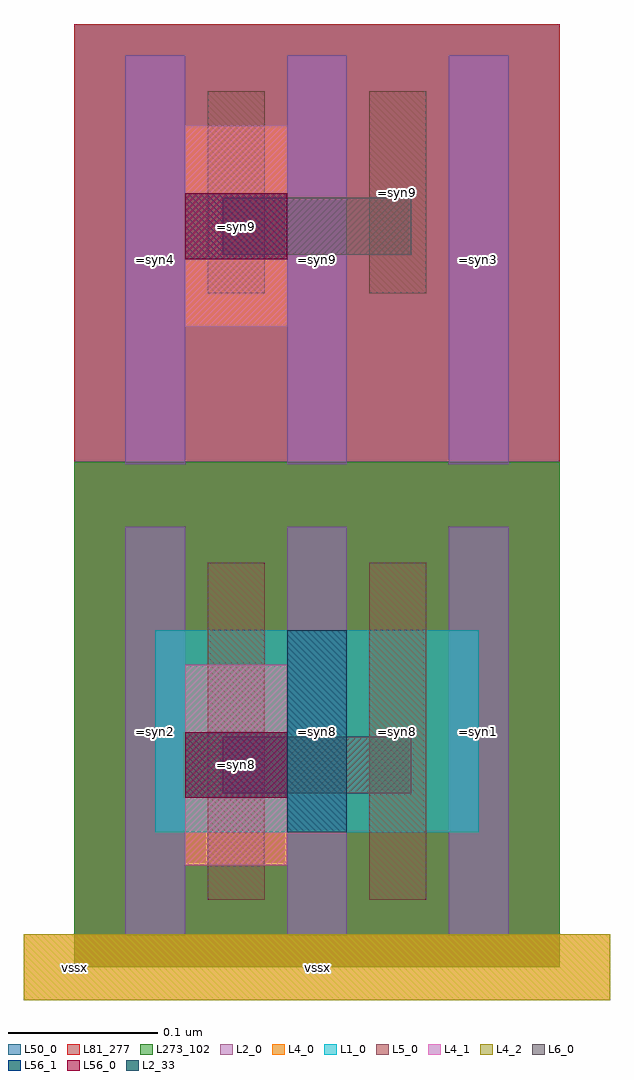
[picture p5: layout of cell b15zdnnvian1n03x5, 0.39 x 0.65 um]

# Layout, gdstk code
import gdstk
lib = gdstk.Library(unit=1e-6, precision=5e-10)
def R(c, l, rs):  # rectangles x0, y0, x1, y1
    for r in rs: c.add(gdstk.rectangle(r[:2], r[2:], *l))
def A(c, l, x, y, w, h, nx, ny, dx, dy):  # array of equal rectangles
    R(c, l, [(x+i*dx, y+j*dy, x+i*dx+w, y+j*dy+h) for i in range(nx) for j in range(ny)])
L1_0 = (1, 0)
L2_0 = (2, 0)
L2_33 = (2, 33)
L4_0 = (4, 0)
L4_1 = (4, 1)
L4_2 = (4, 2)
L5_0 = (5, 0)
L6_0 = (6, 0)
L50_0 = (50, 0)
L56_0 = (56, 0)
L56_1 = (56, 1)
L81_277 = (81, 277)
L273_102 = (273, 102)

b15zdnnvian1n03x5 = lib.new_cell('b15zdnnvian1n03x5')
R(b15zdnnvian1n03x5, L1_0, [(0.054,0.09,0.27,0.225)])
A(b15zdnnvian1n03x5, L2_0, 0.034, 0.021, 0.04, 0.273, 3, 2, 0.108, 0.315)
R(b15zdnnvian1n03x5, L2_33, [(0.142,0.09,0.182,0.225)])
R(b15zdnnvian1n03x5, L4_0, [(-0.034,-0.022,0.358,0.022), (0.074,0.068,0.142,0.202), (0.074,0.428,0.142,0.562)])
R(b15zdnnvian1n03x5, L4_1, [(0.074,0.068,0.142,0.202), (0.074,0.428,0.142,0.562)])
R(b15zdnnvian1n03x5, L4_2, [(-0.034,-0.022,0.358,0.022)])
R(b15zdnnvian1n03x5, L5_0, [(0.089,0.045,0.127,0.27), (0.197,0.045,0.235,0.27), (0.089,0.45,0.127,0.585), (0.197,0.45,0.235,0.585)])
R(b15zdnnvian1n03x5, L6_0, [(0.099,0.116,0.225,0.154), (0.099,0.476,0.225,0.514)])
R(b15zdnnvian1n03x5, L50_0, [(0,0,0.324,0.63)])
R(b15zdnnvian1n03x5, L56_0, [(0.074,0.113,0.142,0.157), (0.074,0.473,0.142,0.517)])
R(b15zdnnvian1n03x5, L56_1, [(0.074,0.113,0.142,0.157), (0.074,0.473,0.142,0.517)])
R(b15zdnnvian1n03x5, L81_277, [(0,0,0.324,0.63)])
R(b15zdnnvian1n03x5, L273_102, [(0,0,0.324,0.3375)])
b15zdnnvian1n03x5.add(gdstk.Label('vssx', (0,0), layer=81, texttype=6))
b15zdnnvian1n03x5.add(gdstk.Label('=syn9', (0.108,0.495), layer=4, texttype=0))
b15zdnnvian1n03x5.add(gdstk.Label('=syn8', (0.108,0.135), layer=4, texttype=0))
b15zdnnvian1n03x5.add(gdstk.Label('vssx', (0.162,0), layer=4, texttype=0))
b15zdnnvian1n03x5.add(gdstk.Label('vssx', (0.162,0), layer=4, texttype=2))
b15zdnnvian1n03x5.add(gdstk.Label('=syn4', (0.054,0.4725), layer=2, texttype=0))
b15zdnnvian1n03x5.add(gdstk.Label('=syn2', (0.054,0.1575), layer=2, texttype=0))
b15zdnnvian1n03x5.add(gdstk.Label('=syn9', (0.162,0.4725), layer=2, texttype=0))
b15zdnnvian1n03x5.add(gdstk.Label('=syn8', (0.162,0.1575), layer=2, texttype=0))
b15zdnnvian1n03x5.add(gdstk.Label('=syn3', (0.27,0.4725), layer=2, texttype=0))
b15zdnnvian1n03x5.add(gdstk.Label('=syn1', (0.27,0.1575), layer=2, texttype=0))
b15zdnnvian1n03x5.add(gdstk.Label('=syn8', (0.216,0.1575), layer=1, texttype=0))
b15zdnnvian1n03x5.add(gdstk.Label('=syn9', (0.108,0.495), layer=6, texttype=0))
b15zdnnvian1n03x5.add(gdstk.Label('=syn8', (0.108,0.135), layer=6, texttype=0))
b15zdnnvian1n03x5.add(gdstk.Label('=syn9', (0.108,0.495), layer=5, texttype=0))
b15zdnnvian1n03x5.add(gdstk.Label('=syn8', (0.108,0.135), layer=5, texttype=0))
b15zdnnvian1n03x5.add(gdstk.Label('=syn9', (0.216,0.5175), layer=5, texttype=0))
b15zdnnvian1n03x5.add(gdstk.Label('=syn8', (0.216,0.1575), layer=5, texttype=0))

lib.write_gds('b15zdnnvian1n03x5.gds')
